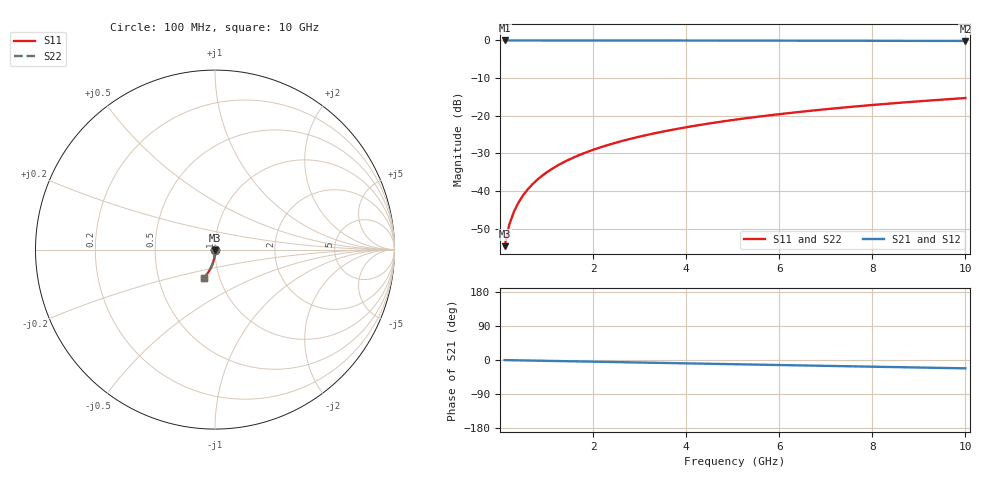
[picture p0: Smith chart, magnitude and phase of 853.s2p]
# Hz S RI R 50.00
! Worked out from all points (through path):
!   100 points, 100 MHz to 10 GHz, reference 50 ohm
!   highest |S21| = -0.01 dB at 100 MHz (marker M1); lowest = -0.1 dB at 10 GHz (marker M2)
!   group delay of S21, straight-line fit = 6.12 ps
!   lowest |S11| = -54.6 dB at 100 MHz (marker M3), VSWR 1.00, Z = 50.1 - j0.177 ohm
!   |S11| at or under -10 dB: start of sweep to end of sweep
!   |S22| runs from -54.6 to -15.3 dB; largest |S21 - S12| = 0
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1e8  0.000571 -0.00177  0.9994 -0.00385  0.9994 -0.00385  0.000571 -0.00177
2e8  0.000552 -0.00353  0.9994 -0.0077  0.9994 -0.0077  0.000552 -0.00353
3e8  0.000518 -0.0053  0.9993 -0.0116  0.9993 -0.0116  0.000518 -0.0053
4e8  0.00047 -0.00706  0.9993 -0.0154  0.9993 -0.0154  0.00047 -0.00706
5e8  0.000408 -0.00882  0.9992 -0.0193  0.9992 -0.0193  0.000408 -0.00882
6e8  0.000332 -0.0106  0.9991 -0.0231  0.9991 -0.0231  0.000332 -0.0106
7e8  0.000243 -0.0124  0.9989 -0.027  0.9989 -0.027  0.000243 -0.0124
8e8  0.00014 -0.0141  0.9988 -0.0308  0.9988 -0.0308  0.00014 -0.0141
9e8  2.31e-05 -0.0159  0.9986 -0.0347  0.9986 -0.0347  2.31e-05 -0.0159
1.1e9  -0.000251 -0.0194  0.9983 -0.0424  0.9983 -0.0424  -0.000251 -0.0194
1.4e9  -0.000766 -0.0247  0.9976 -0.0539  0.9976 -0.0539  -0.000766 -0.0247
1.8e9  -0.00164 -0.0317  0.9964 -0.0693  0.9964 -0.0693  -0.00164 -0.0317
2.1e9  -0.00244 -0.0369  0.9954 -0.0808  0.9954 -0.0808  -0.00244 -0.0369
2.5e9  -0.00369 -0.0439  0.9937 -0.0961  0.9937 -0.0961  -0.00369 -0.0439
2.9e9  -0.00516 -0.0508  0.9918 -0.1114  0.9918 -0.1114  -0.00516 -0.0508
3.4e9  -0.00729 -0.0594  0.9889 -0.1304  0.9889 -0.1304  -0.00729 -0.0594
4.2e9  -0.0114 -0.0729  0.9835 -0.1607  0.9835 -0.1607  -0.0114 -0.0729
5.1e9  -0.017 -0.0878  0.976 -0.1944  0.976 -0.1944  -0.017 -0.0878
5.9e9  -0.0228 -0.1007  0.9683 -0.2241  0.9683 -0.2241  -0.0228 -0.1007
6.7e9  -0.0294 -0.1132  0.9594 -0.2533  0.9594 -0.2533  -0.0294 -0.1132
8.4e9  -0.0458 -0.1382  0.9372 -0.3141  0.9372 -0.3141  -0.0458 -0.1382
1e10  -0.064 -0.1594  0.9123 -0.3691  0.9123 -0.3691  -0.064 -0.1594
